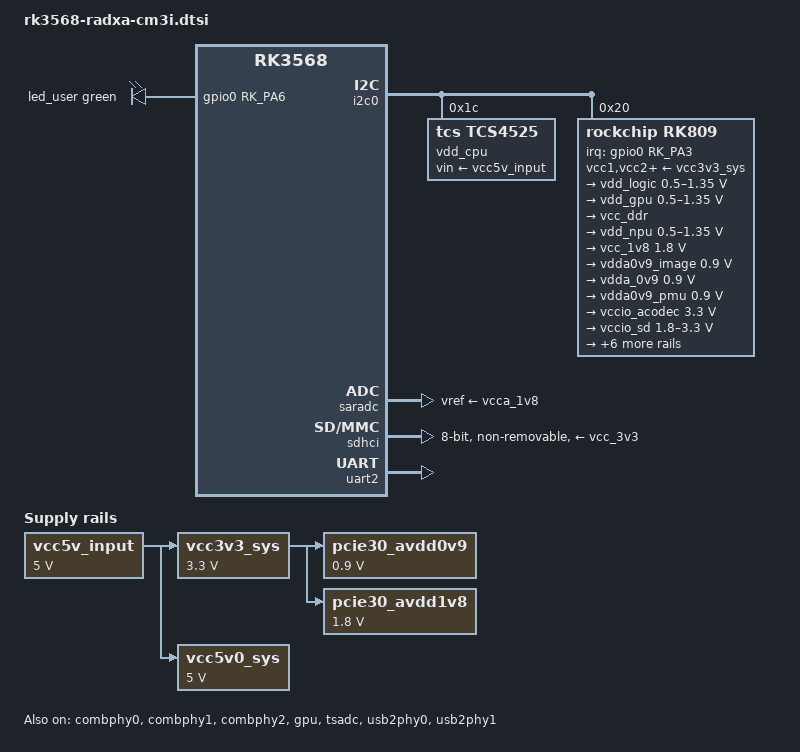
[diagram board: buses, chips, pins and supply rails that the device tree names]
// SPDX-License-Identifier: (GPL-2.0+ OR MIT)

#include <dt-bindings/gpio/gpio.h>
#include <dt-bindings/leds/common.h>
#include <dt-bindings/pinctrl/rockchip.h>
#include "rk3568.dtsi"

/ {
	compatible = "radxa,cm3i", "rockchip,rk3568";

	aliases {
		mmc0 = &sdhci;
	};

	chosen {
		stdout-path = "serial2:115200n8";
	};

	gpio-leds {
		compatible = "gpio-leds";

		led_user: led-0 {
			gpios = <&gpio0 RK_PA6 GPIO_ACTIVE_HIGH>;
			function = LED_FUNCTION_HEARTBEAT;
			color = <LED_COLOR_ID_GREEN>;
			linux,default-trigger = "heartbeat";
			pinctrl-names = "default";
			pinctrl-0 = <&led_user_en>;
		};
	};

	pcie30_avdd0v9: pcie30-avdd0v9-regulator {
		compatible = "regulator-fixed";
		regulator-name = "pcie30_avdd0v9";
		regulator-always-on;
		regulator-boot-on;
		regulator-min-microvolt = <900000>;
		regulator-max-microvolt = <900000>;
		vin-supply = <&vcc3v3_sys>;
	};

	pcie30_avdd1v8: pcie30-avdd1v8-regulator {
		compatible = "regulator-fixed";
		regulator-name = "pcie30_avdd1v8";
		regulator-always-on;
		regulator-boot-on;
		regulator-min-microvolt = <1800000>;
		regulator-max-microvolt = <1800000>;
		vin-supply = <&vcc3v3_sys>;
	};

	vcc3v3_sys: vcc3v3-sys-regulator {
		compatible = "regulator-fixed";
		regulator-name = "vcc3v3_sys";
		regulator-always-on;
		regulator-boot-on;
		regulator-min-microvolt = <3300000>;
		regulator-max-microvolt = <3300000>;
		vin-supply = <&vcc5v_input>;
	};

	vcc5v0_sys: vcc5v0-sys-regulator {
		compatible = "regulator-fixed";
		regulator-name = "vcc5v0_sys";
		regulator-always-on;
		regulator-boot-on;
		regulator-min-microvolt = <5000000>;
		regulator-max-microvolt = <5000000>;
		vin-supply = <&vcc5v_input>;
	};

	/* labeled +5v_input in schematic */
	vcc5v_input: vcc5v-input-regulator {
		compatible = "regulator-fixed";
		regulator-name = "vcc5v_input";
		regulator-always-on;
		regulator-boot-on;
		regulator-min-microvolt = <5000000>;
		regulator-max-microvolt = <5000000>;
	};
};

&combphy0 {
	status = "okay";
};

&combphy1 {
	status = "okay";
};

&combphy2 {
	status = "okay";
};

&cpu0 {
	cpu-supply = <&vdd_cpu>;
};

&cpu1 {
	cpu-supply = <&vdd_cpu>;
};

&cpu2 {
	cpu-supply = <&vdd_cpu>;
};

&cpu3 {
	cpu-supply = <&vdd_cpu>;
};

&display_subsystem {
	status = "disabled";
};

&gpu {
	mali-supply = <&vdd_gpu>;
	status = "okay";
};

&i2c0 {
	status = "okay";

	vdd_cpu: regulator@1c {
		compatible = "tcs,tcs4525";
		reg = <0x1c>;
		fcs,suspend-voltage-selector = <1>;
		regulator-name = "vdd_cpu";
		regulator-always-on;
		regulator-boot-on;
		regulator-min-microvolt = <800000>;
		regulator-max-microvolt = <1150000>;
		regulator-ramp-delay = <2300>;
		vin-supply = <&vcc5v_input>;

		regulator-state-mem {
			regulator-off-in-suspend;
		};
	};

	rk809: pmic@20 {
		compatible = "rockchip,rk809";
		reg = <0x20>;
		interrupt-parent = <&gpio0>;
		interrupts = <RK_PA3 IRQ_TYPE_LEVEL_LOW>;
		#clock-cells = <1>;
		pinctrl-names = "default";
		pinctrl-0 = <&pmic_int>;
		rockchip,system-power-controller;
		wakeup-source;

		vcc1-supply = <&vcc3v3_sys>;
		vcc2-supply = <&vcc3v3_sys>;
		vcc3-supply = <&vcc3v3_sys>;
		vcc4-supply = <&vcc3v3_sys>;
		vcc5-supply = <&vcc3v3_sys>;
		vcc6-supply = <&vcc3v3_sys>;
		vcc7-supply = <&vcc3v3_sys>;
		vcc8-supply = <&vcc3v3_sys>;
		vcc9-supply = <&vcc3v3_sys>;

		regulators {
			vdd_logic: DCDC_REG1 {
				regulator-name = "vdd_logic";
				regulator-always-on;
				regulator-boot-on;
				regulator-init-microvolt = <900000>;
				regulator-initial-mode = <0x2>;
				regulator-min-microvolt = <500000>;
				regulator-max-microvolt = <1350000>;
				regulator-ramp-delay = <6001>;

				regulator-state-mem {
					regulator-off-in-suspend;
				};
			};

			vdd_gpu: DCDC_REG2 {
				regulator-name = "vdd_gpu";
				regulator-always-on;
				regulator-init-microvolt = <900000>;
				regulator-initial-mode = <0x2>;
				regulator-min-microvolt = <500000>;
				regulator-max-microvolt = <1350000>;
				regulator-ramp-delay = <6001>;

				regulator-state-mem {
					regulator-off-in-suspend;
				};
			};

			vcc_ddr: DCDC_REG3 {
				regulator-name = "vcc_ddr";
				regulator-always-on;
				regulator-boot-on;
				regulator-initial-mode = <0x2>;

				regulator-state-mem {
					regulator-on-in-suspend;
				};
			};

			vdd_npu: DCDC_REG4 {
				regulator-name = "vdd_npu";
				regulator-init-microvolt = <900000>;
				regulator-initial-mode = <0x2>;
				regulator-min-microvolt = <500000>;
				regulator-max-microvolt = <1350000>;
				regulator-ramp-delay = <6001>;

				regulator-state-mem {
					regulator-off-in-suspend;
				};
			};

			vcc_1v8: DCDC_REG5 {
				regulator-name = "vcc_1v8";
				regulator-always-on;
				regulator-boot-on;
				regulator-min-microvolt = <1800000>;
				regulator-max-microvolt = <1800000>;

				regulator-state-mem {
					regulator-off-in-suspend;
				};
			};

			vdda0v9_image: LDO_REG1 {
				regulator-name = "vdda0v9_image";
				regulator-min-microvolt = <900000>;
				regulator-max-microvolt = <900000>;

				regulator-state-mem {
					regulator-off-in-suspend;
				};
			};

			vdda_0v9: LDO_REG2 {
				regulator-name = "vdda_0v9";
				regulator-always-on;
				regulator-boot-on;
				regulator-min-microvolt = <900000>;
				regulator-max-microvolt = <900000>;

				regulator-state-mem {
					regulator-off-in-suspend;
				};
			};

			vdda0v9_pmu: LDO_REG3 {
				regulator-name = "vdda0v9_pmu";
				regulator-always-on;
				regulator-boot-on;
				regulator-min-microvolt = <900000>;
				regulator-max-microvolt = <900000>;

				regulator-state-mem {
					regulator-on-in-suspend;
					regulator-suspend-microvolt = <900000>;
				};
			};

			vccio_acodec: LDO_REG4 {
				regulator-name = "vccio_acodec";
				regulator-always-on;
				regulator-min-microvolt = <3300000>;
				regulator-max-microvolt = <3300000>;

				regulator-state-mem {
					regulator-off-in-suspend;
				};
			};

			vccio_sd: LDO_REG5 {
				regulator-name = "vccio_sd";
				regulator-min-microvolt = <1800000>;
				regulator-max-microvolt = <3300000>;

				regulator-state-mem {
					regulator-off-in-suspend;
				};
			};

			vcc3v3_pmu: LDO_REG6 {
				regulator-name = "vcc3v3_pmu";
				regulator-always-on;
				regulator-boot-on;
				regulator-min-microvolt = <3300000>;
				regulator-max-microvolt = <3300000>;

				regulator-state-mem {
					regulator-on-in-suspend;
					regulator-suspend-microvolt = <3300000>;
				};
			};

			vcca_1v8: LDO_REG7 {
				regulator-name = "vcca_1v8";
				regulator-always-on;
				regulator-boot-on;
				regulator-min-microvolt = <1800000>;
				regulator-max-microvolt = <1800000>;

				regulator-state-mem {
					regulator-off-in-suspend;
				};
			};

			vcca1v8_pmu: LDO_REG8 {
				regulator-name = "vcca1v8_pmu";
				regulator-always-on;
				regulator-boot-on;
				regulator-min-microvolt = <1800000>;
				regulator-max-microvolt = <1800000>;

				regulator-state-mem {
					regulator-on-in-suspend;
					regulator-suspend-microvolt = <1800000>;
				};
			};

			vcca1v8_image: LDO_REG9 {
				regulator-name = "vcca1v8_image";
				regulator-min-microvolt = <1800000>;
				regulator-max-microvolt = <1800000>;

				regulator-state-mem {
					regulator-off-in-suspend;
				};
			};

			vcc_3v3: SWITCH_REG1 {
				regulator-name = "vcc_3v3";
				regulator-always-on;
				regulator-boot-on;

				regulator-state-mem {
					regulator-off-in-suspend;
				};
			};

			vcc3v3_sd: SWITCH_REG2 {
				regulator-name = "vcc3v3_sd";

				regulator-state-mem {
					regulator-off-in-suspend;
				};
			};
		};
	};
};

&pinctrl {
	leds {
		led_user_en: led_user_en {
			rockchip,pins = <0 RK_PA6 RK_FUNC_GPIO &pcfg_pull_none>;
		};
	};

	pmic {
		pmic_int: pmic_int {
			rockchip,pins = <0 RK_PA3 RK_FUNC_GPIO &pcfg_pull_up>;
		};
	};
};

&pmu_io_domains {
	pmuio1-supply = <&vcc3v3_pmu>;
	pmuio2-supply = <&vcc3v3_pmu>;
	vccio1-supply = <&vccio_acodec>;
	vccio2-supply = <&vcc_1v8>;
	vccio3-supply = <&vccio_sd>;
	vccio4-supply = <&vcc_1v8>;
	vccio5-supply = <&vcc_3v3>;
	vccio6-supply = <&vcc_1v8>;
	vccio7-supply = <&vcc_3v3>;
	status = "okay";
};

&saradc {
	vref-supply = <&vcca_1v8>;
	status = "okay";
};

&sdhci {
	bus-width = <8>;
	max-frequency = <200000000>;
	non-removable;
	pinctrl-names = "default";
	pinctrl-0 = <&emmc_bus8 &emmc_clk &emmc_cmd &emmc_datastrobe>;
	vmmc-supply = <&vcc_3v3>;
	vqmmc-supply = <&vcc_1v8>;
	status = "okay";
};

&tsadc {
	rockchip,hw-tshut-mode = <1>;
	rockchip,hw-tshut-polarity = <0>;
	status = "okay";
};

&uart2 {
	status = "okay";
};

&usb2phy0 {
	status = "okay";
};

&usb2phy1 {
	status = "okay";
};

&usb_host0_xhci {
	extcon = <&usb2phy0>;
};
